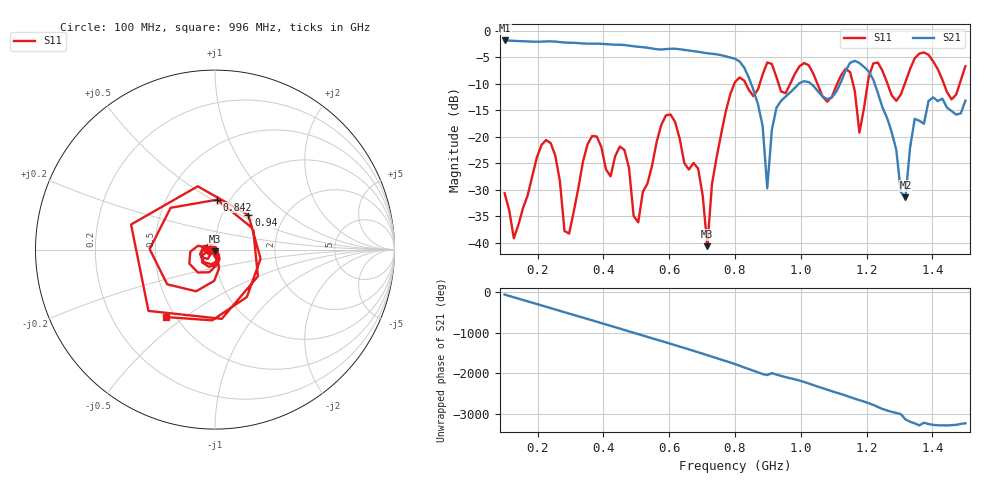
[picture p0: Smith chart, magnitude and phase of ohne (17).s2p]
! NanoVNA-App
! Date: 2025-09-25 14:20:56
! Start: 100MHz Stop: 1,5GHz Points: 101
! S-Parameter data: F S11 S21 S12 S22
# Hz S RI R 50
!  Frequency  S11_Real  S11_Imag  S21_Real  S21_Imag  S12_Real  S12_Imag  S22_Real  S22_Imag
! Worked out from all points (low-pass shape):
!   101 points, 100 MHz to 1.5 GHz, reference 50 ohm
!   highest |S21| = -1.79 dB at 100 MHz (marker M1); lowest = -31.4 dB at 1.318 GHz (marker M2)
!   |S21| within 3 dB of the highest: start of sweep to 771.9 MHz
!   lowest |S11| = -40.6 dB at 716 MHz (marker M3), VSWR 1.02, Z = 49.9 - j0.917 ohm
!   |S11| at or under -10 dB: start of sweep to 797.8 MHz; 833 MHz to 875.1 MHz (42.03 MHz wide, 4.92 % of centre); 1.051 GHz to 1.11 GHz (59.74 MHz wide, 5.53 % of centre)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
!   S12 and S22 are empty: the file has one direction only
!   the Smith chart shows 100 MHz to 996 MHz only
!   S11 on the Smith chart (normalised r, x): 100 MHz: 0.94, -0.01; 842 MHz: 0.88, +0.53; 940 MHz: 1.33, +0.55; 996 MHz: 0.45, -0.43
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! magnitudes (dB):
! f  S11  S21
! 100 MHz  -30.6  -1.8
! 128 MHz  -39.1  -1.9
! 226 MHz  -20.6  -2.0
! 296 MHz  -38.3  -2.2
! 338 MHz  -24.7  -2.4
! 464 MHz  -22.5  -2.7
! 506 MHz  -36.1  -3.0
! 576 MHz  -17.7  -3.5
! 688 MHz  -26.0  -3.9
! 716 MHz  -40.6  -4.2
! 800 MHz  -9.7  -5.3
! 842 MHz  -11.1  -8.8
! 898 MHz  -6.0  -29.7
! 940 MHz  -11.4  -13.2
! 996 MHz  -6.7  -9.8
! 1.038 GHz  -8.1  -10.3
! 1.178 GHz  -19.2  -6.0
! 1.22 GHz  -6.2  -9.2
! 1.276 GHz  -12.2  -19.1
! 1.318 GHz  -9.6  -31.4
! 1.346 GHz  -5.2  -16.6
! 1.5 GHz  -6.7  -13.2
